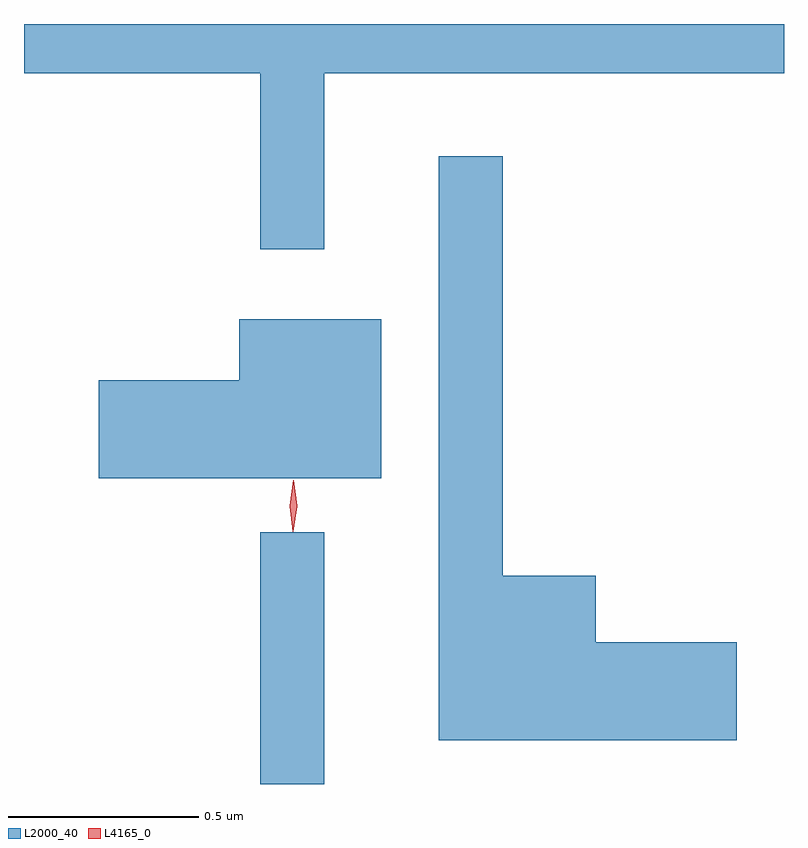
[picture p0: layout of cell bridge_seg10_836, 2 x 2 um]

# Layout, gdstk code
import gdstk
lib = gdstk.Library(unit=1e-6, precision=1e-09)
def R(c, l, rs):  # rectangles x0, y0, x1, y1
    for r in rs: c.add(gdstk.rectangle(r[:2], r[2:], *l))
def P(c, l, *ps):  # polygons
    for p in ps: c.add(gdstk.Polygon(p, *l))
L2000_40 = (2000, 40)
L4165_0 = (4165, 0)

bridge_seg10_836 = lib.new_cell('bridge_seg10_836')
R(bridge_seg10_836, L2000_40, [(607.551,2087.626,607.719,2088.288)])
P(bridge_seg10_836, L2000_40, [(607.719,2089.496),(608.929,2089.496),(608.929,2089.626),(606.929,2089.626),(606.929,2089.496),(607.551,2089.496),(607.551,2089.033),(607.719,2089.033)],
  [(608.804,2087.999),(608.434,2087.999),(608.434,2088.174),(608.189,2088.174),(608.189,2089.278),(608.021,2089.278),(608.021,2087.741),(608.804,2087.741)],
  [(607.869,2088.849),(607.496,2088.849),(607.496,2088.689),(607.126,2088.689),(607.126,2088.431),(607.869,2088.431)])
P(bridge_seg10_836, L4165_0, [(607.637,2088.293),(607.636,2088.294),(607.628,2088.356),(607.638,2088.419),(607.639,2088.42),(607.639,2088.419),(607.648,2088.356),(607.638,2088.294)],
  [(607.636,2088.29),(607.628,2088.358),(607.638,2088.426),(607.638,2088.426),(607.639,2088.426),(607.648,2088.358),(607.638,2088.29),(607.637,2088.29)])

lib.write_gds('bridge_seg10_836.gds')
